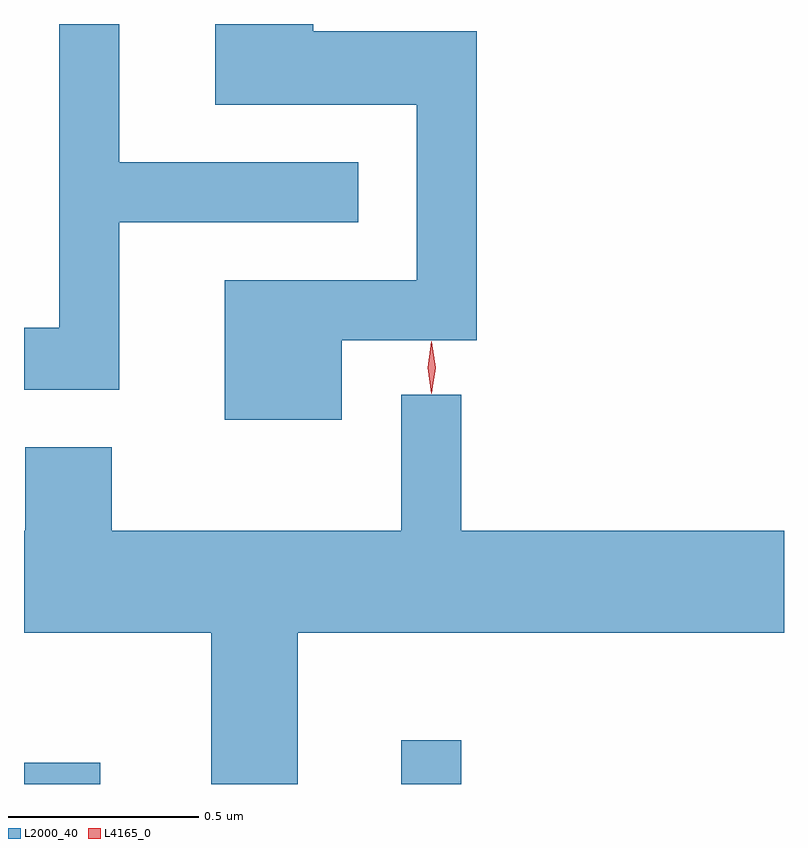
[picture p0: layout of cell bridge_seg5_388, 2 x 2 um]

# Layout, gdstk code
import gdstk
lib = gdstk.Library(unit=1e-6, precision=1e-09)
def R(c, l, rs):  # rectangles x0, y0, x1, y1
    for r in rs: c.add(gdstk.rectangle(r[:2], r[2:], *l))
def P(c, l, *ps):  # polygons
    for p in ps: c.add(gdstk.Polygon(p, *l))
L2000_40 = (2000, 40)
L4165_0 = (4165, 0)

bridge_seg5_388 = lib.new_cell('bridge_seg5_388')
R(bridge_seg5_388, L2000_40, [(812.208,1423.098,812.409,1423.154), (813.201,1423.098,813.359,1423.213)])
P(bridge_seg5_388, L2000_40, [(812.459,1424.576),(813.088,1424.576),(813.088,1424.734),(812.459,1424.734),(812.459,1425.098),(812.301,1425.098),(812.301,1424.299),(812.208,1424.299),(812.208,1424.136),(812.459,1424.136)],
  [(813.044,1424.266),(813.399,1424.266),(813.399,1425.079),(812.969,1425.079),(812.969,1425.098),(812.711,1425.098),(812.711,1424.886),(813.241,1424.886),(813.241,1424.424),(812.736,1424.424),(812.736,1424.056),(813.044,1424.056)],
  [(812.929,1423.496),(814.208,1423.496),(814.208,1423.764),(813.359,1423.764),(813.359,1424.123),(813.201,1424.123),(813.201,1423.764),(812.439,1423.764),(812.439,1423.984),(812.211,1423.984),(812.211,1423.764),(812.208,1423.764),(812.208,1423.496),(812.701,1423.496),(812.701,1423.098),(812.929,1423.098)])
P(bridge_seg5_388, L4165_0, [(813.28,1424.125),(813.28,1424.126),(813.27,1424.194),(813.28,1424.262),(813.28,1424.263),(813.281,1424.262),(813.29,1424.194),(813.281,1424.126)],
  [(813.281,1424.128),(813.28,1424.129),(813.271,1424.194),(813.28,1424.26),(813.281,1424.26),(813.281,1424.26),(813.291,1424.194),(813.281,1424.129)])

lib.write_gds('bridge_seg5_388.gds')
